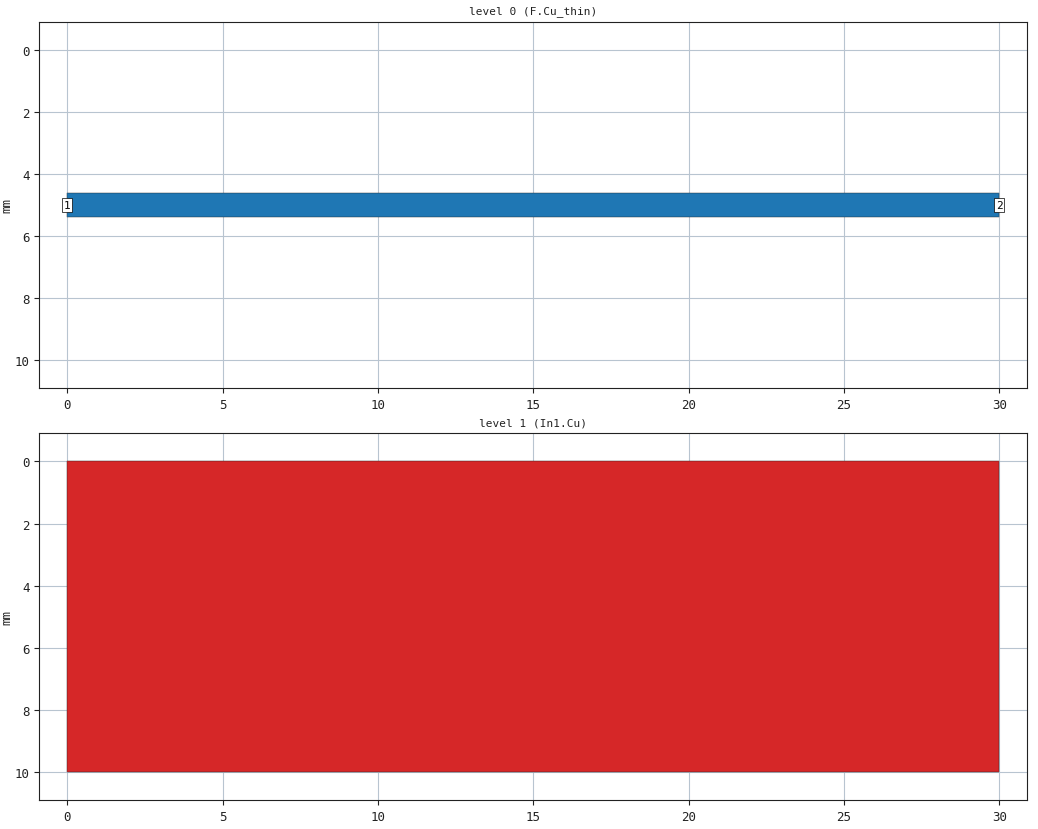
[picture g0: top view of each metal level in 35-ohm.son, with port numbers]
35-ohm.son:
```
FTYP SONPROJ 19 ! Sonnet Project File
VER 18.56
HEADER
LIC antikernel2.1.51813
DAT 11/27/2022 19:55:17
BUILT_BY_CREATED xgeom 18.56 11/27/2022 18:54:38
BUILT_BY_SAVED sonnet 18.56
MDATE 11/27/2022 19:55:17
HDATE 11/27/2022 19:55:17
END HEADER
DIM
ANG DEG
CAP PF
CON /OH
FREQ GHZ
IND NH
LNG MM
RES OH
END DIM
CONTROL
VARSWP
OPTIONS  -dj
SPEED 0
CACHE_ABS 2
Q_ACC N
END CONTROL
GEO
STF ../../sonnet-techfiles/oshpark/4l/oshpark-4l-nosoldermask.stf
SYM
TMET "Free Space" 0 FREESPACE 376.7303136 0 0 0
BMET "Free Space" 0 FREESPACE 376.7303136 0 0 0
BOX 0 30 10 2400 800 20 0
LORGN 0 10 U 
POR1 BOX
POLY 46 1
3
1 35.35 0 0 0 0 5 
POR1 BOX
POLY 46 1
1
2 35.35 0 0 0 30 5 
NUM 2
0 5 1 N 46 1 1 100 100 0 0 0 Y
TLAYNAM F.Cu_thin INH
0 4.625
30 4.625
30 5.375
0 5.375
0 4.625
END
1 5 2 N 79 1 1 100 100 0 0 0 Y
TLAYNAM In1.Cu INH
0 0
30 0
30 10
0 10
0 0
END
END GEO
OPT
MAX 100
END OPT
VARSWP
ENABLED Y
FREQ Y AY ABS_ENTRY 0.1 8.5 -1 300 
END
END VARSWP
```
